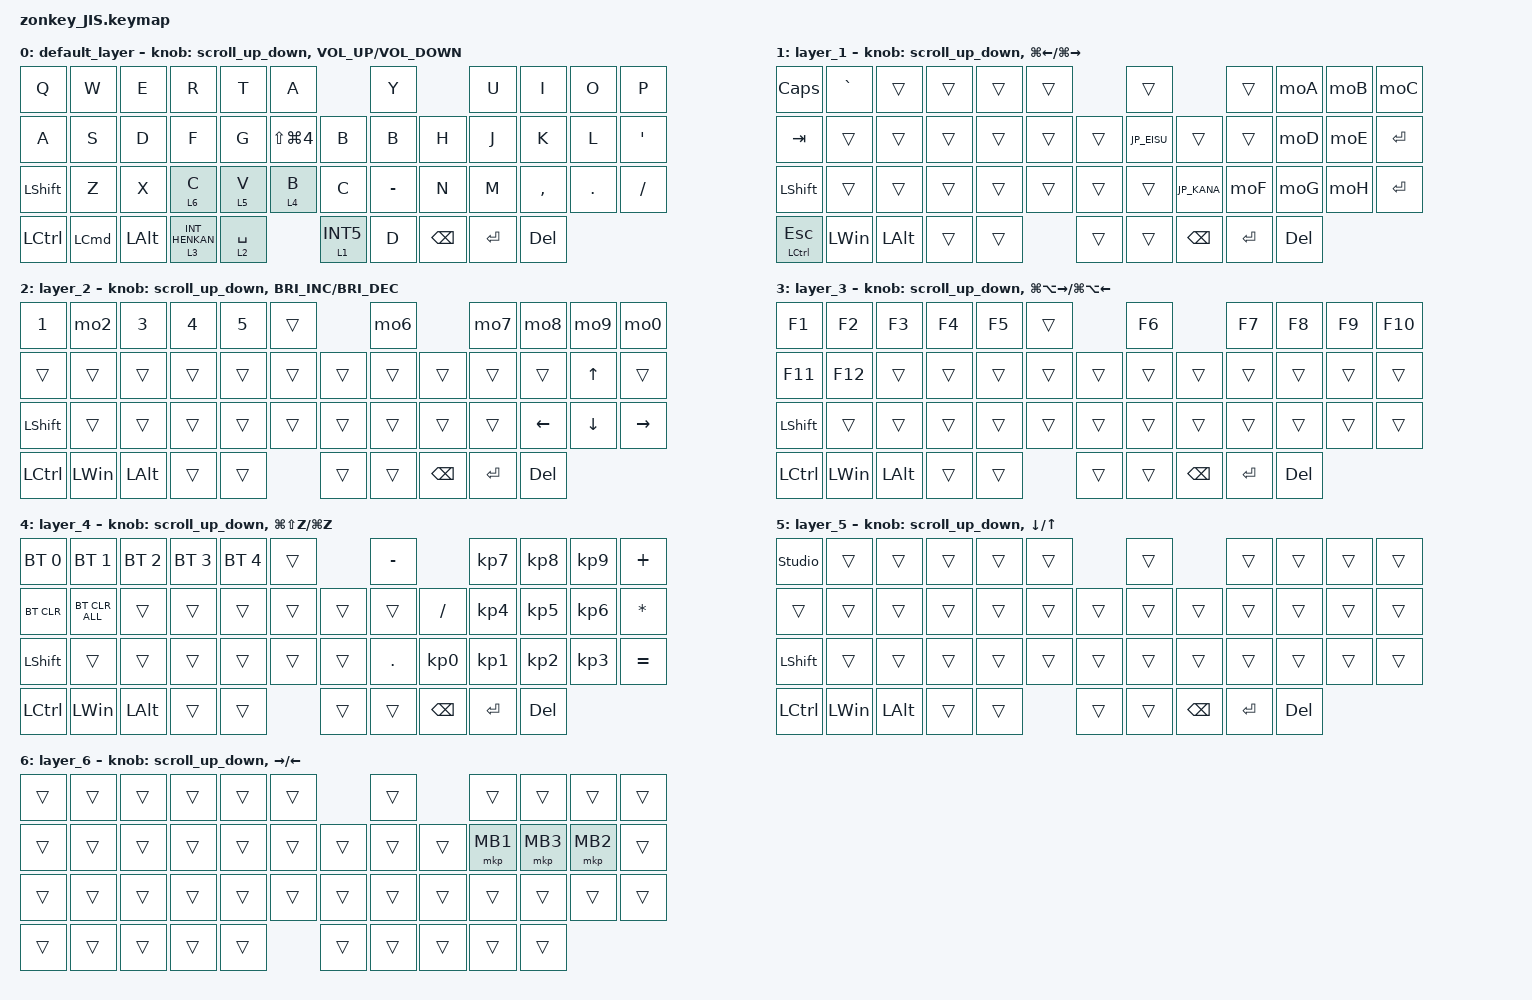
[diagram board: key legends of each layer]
#include <behaviors.dtsi>
#include <dt-bindings/zmk/keys.h>
#include <dt-bindings/zmk/pointing.h>
#include <dt-bindings/zmk/bt.h>
#include "layout_shift.dtsi"

#define MOUSE 2
#define SCROLL 3
#define BT 4

&mt {
	flavor = "tap-preferred";
};

/ {
    behaviors {
        lt_repeat: lt_repeat {
            compatible = "zmk,behavior-hold-tap";
            label = "LAYER_TAP_REPEAT";
            bindings = <&mo>, <&kp>;

            #binding-cells = <2>;
            flavor = "hold-preferred";  // 長押しを少し強めに優先
            tapping-term-ms = <1000>;    // 長押し判定（好みに応じて200〜300で調整）
            quick-tap-ms = <900>;      // タップ+長押しでリピートさせる時間
        };

        scroll_up_down: behavior_sensor_rotate_mouse_wheel_up_down {
            compatible = "zmk,behavior-sensor-rotate";
            #sensor-binding-cells = <0>;
            bindings = <&msc SCRL_DOWN>, <&msc SCRL_UP>;

            tap-ms = <20>;
        };
    };

    keymap {
        compatible = "zmk,keymap";

        default_layer {
            bindings = <
&kp Q           &kp W             &kp E         &kp R                    &kp T               &kp A                        &kp Y          &kp U      &kp I    &kp O      &kp P
&kp A           &kp S             &kp D         &kp F                    &kp G               &kp LS(LG(N4))  &kp B  &kp B          &kp H      &kp J    &kp K      &kp L    &kp SQT
&kp LEFT_SHIFT  &kp Z             &kp X         &lt_repeat 6 C           &lt_repeat 5 V      &lt_repeat 4 B        &kp C  &kp MINUS      &kp N      &kp M    &kp COMMA  &kp DOT  &kp SLASH
&kp LCTRL       &kp LEFT_COMMAND  &kp LEFT_ALT  &lt_repeat 3 INT_HENKAN  &lt_repeat 2 SPACE  &lt_repeat 1 INT5     &kp D  &kp BACKSPACE  &kp ENTER  &kp DEL
            >;

            sensor-bindings =
                <&scroll_up_down>,
                <&inc_dec_kp C_VOLUME_UP C_VOLUME_DOWN>;
        };

        layer_1 {
            bindings = <
&kp CAPSLOCK    &kp GRAVE     &trans        &trans  &trans  &trans          &trans         &trans       &moA     &moB  &moC
&kp TAB         &trans        &trans        &trans  &trans  &trans  &trans  &kp JP_EISU    &trans       &trans   &moD  &moE  &kp ENTER
&kp LEFT_SHIFT  &trans        &trans        &trans  &trans  &trans  &trans  &trans         &kp JP_KANA  &moF     &moG  &moH  &kp ENTER
&mt LCTL ESC    &kp LEFT_WIN  &kp LEFT_ALT  &trans  &trans  &trans  &trans  &kp BACKSPACE  &kp ENTER    &kp DEL
            >;

            sensor-bindings =
                <&scroll_up_down>,
                <&inc_dec_kp LG(LEFT) LG(RIGHT)>;
        };

        layer_2 {
            bindings = <
&kp N1          &mo2          &kp N3        &kp N4  &kp N5  &trans          &mo6           &mo7       &mo8     &mo9            &mo0
&trans          &trans        &trans        &trans  &trans  &trans  &trans  &trans         &trans     &trans   &trans          &kp UP_ARROW    &trans
&kp LEFT_SHIFT  &trans        &trans        &trans  &trans  &trans  &trans  &trans         &trans     &trans   &kp LEFT_ARROW  &kp DOWN_ARROW  &kp RIGHT_ARROW
&kp LCTRL       &kp LEFT_WIN  &kp LEFT_ALT  &trans  &trans  &trans  &trans  &kp BACKSPACE  &kp ENTER  &kp DEL
            >;

            sensor-bindings =
                <&scroll_up_down>,
                <&inc_dec_kp C_BRIGHTNESS_INC C_BRI_DEC>;
        };

        layer_3 {
            bindings = <
&kp F1          &kp F2        &kp F3        &kp F4  &kp F5  &trans          &kp F6         &kp F7     &kp F8   &kp F9  &kp F10
&kp F11         &kp F12       &trans        &trans  &trans  &trans  &trans  &trans         &trans     &trans   &trans  &trans   &trans
&kp LEFT_SHIFT  &trans        &trans        &trans  &trans  &trans  &trans  &trans         &trans     &trans   &trans  &trans   &trans
&kp LCTRL       &kp LEFT_WIN  &kp LEFT_ALT  &trans  &trans  &trans  &trans  &kp BACKSPACE  &kp ENTER  &kp DEL
            >;

            sensor-bindings =
                <&scroll_up_down>,
                <&inc_dec_kp LG(LA(RIGHT)) LG(LA(LEFT))>;
        };

        layer_4 {
            bindings = <
&bt BT_SEL 0    &bt BT_SEL 1    &bt BT_SEL 2  &bt BT_SEL 3  &bt BT_SEL 4  &trans          &kp MINUS      &kp KP_NUMBER_7  &kp KP_NUMBER_8  &kp KP_NUMBER_9  &kp PLUS
&bt BT_CLR      &bt BT_CLR_ALL  &trans        &trans        &trans        &trans  &trans  &trans         &kp SLASH        &kp KP_NUMBER_4  &kp KP_NUMBER_5  &kp KP_NUMBER_6  &kp ASTERISK
&kp LEFT_SHIFT  &trans          &trans        &trans        &trans        &trans  &trans  &kp DOT        &kp KP_NUMBER_0  &kp KP_NUMBER_1  &kp KP_NUMBER_2  &kp KP_NUMBER_3  &kp EQUAL
&kp LCTRL       &kp LEFT_WIN    &kp LEFT_ALT  &trans        &trans        &trans  &trans  &kp BACKSPACE  &kp ENTER        &kp DEL
            >;

            sensor-bindings = <&scroll_up_down>, <&inc_dec_kp LG(LS(Z)) LG(Z)>;
        };

        layer_5 {
            bindings = <
&studio_unlock  &trans        &trans        &trans  &trans  &trans          &trans         &trans     &trans   &trans  &trans
&trans          &trans        &trans        &trans  &trans  &trans  &trans  &trans         &trans     &trans   &trans  &trans  &trans
&kp LEFT_SHIFT  &trans        &trans        &trans  &trans  &trans  &trans  &trans         &trans     &trans   &trans  &trans  &trans
&kp LCTRL       &kp LEFT_WIN  &kp LEFT_ALT  &trans  &trans  &trans  &trans  &kp BACKSPACE  &kp ENTER  &kp DEL
            >;

            sensor-bindings = <&scroll_up_down>, <&inc_dec_kp DOWN UP_ARROW>;
        };

        layer_6 {
            bindings = <
&trans  &trans  &trans  &trans  &trans  &trans          &trans  &trans  &trans    &trans    &trans
&trans  &trans  &trans  &trans  &trans  &trans  &trans  &trans  &trans  &mkp MB1  &mkp MB3  &mkp MB2  &trans
&trans  &trans  &trans  &trans  &trans  &trans  &trans  &trans  &trans  &trans    &trans    &trans    &trans
&trans  &trans  &trans  &trans  &trans  &trans  &trans  &trans  &trans  &trans
            >;

            sensor-bindings = <&scroll_up_down>, <&inc_dec_kp RIGHT LEFT>;
        };
    };
};
